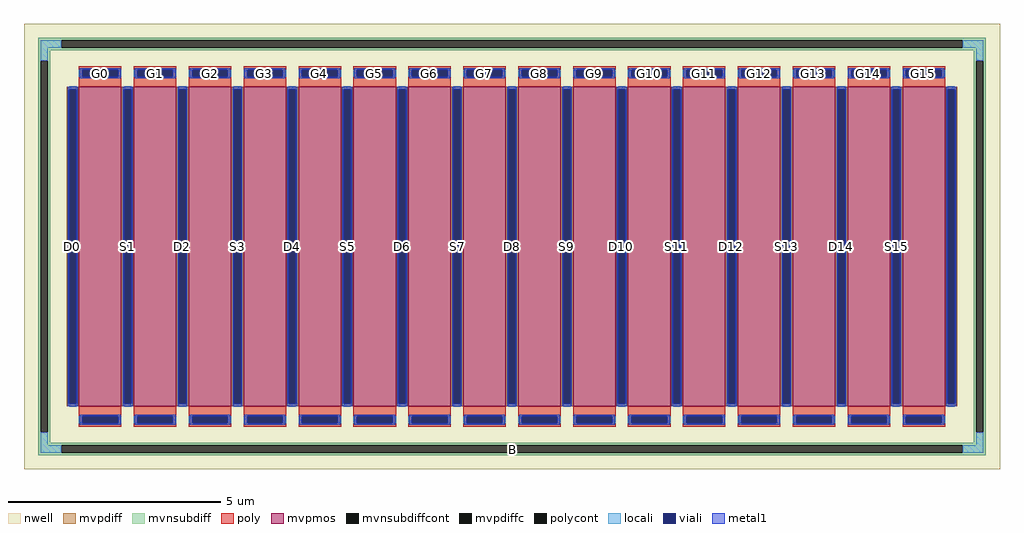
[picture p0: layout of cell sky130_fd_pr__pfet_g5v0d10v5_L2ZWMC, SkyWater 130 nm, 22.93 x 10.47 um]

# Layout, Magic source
magic
tech sky130A
magscale 1 2
<< nwell >>
rect -2293 -1047 2293 1047
<< mvpmos >>
rect -2035 -750 -1835 750
rect -1777 -750 -1577 750
rect -1519 -750 -1319 750
rect -1261 -750 -1061 750
rect -1003 -750 -803 750
rect -745 -750 -545 750
rect -487 -750 -287 750
rect -229 -750 -29 750
rect 29 -750 229 750
rect 287 -750 487 750
rect 545 -750 745 750
rect 803 -750 1003 750
rect 1061 -750 1261 750
rect 1319 -750 1519 750
rect 1577 -750 1777 750
rect 1835 -750 2035 750
<< mvpdiff >>
rect -2093 738 -2035 750
rect -2093 -738 -2081 738
rect -2047 -738 -2035 738
rect -2093 -750 -2035 -738
rect -1835 738 -1777 750
rect -1835 -738 -1823 738
rect -1789 -738 -1777 738
rect -1835 -750 -1777 -738
rect -1577 738 -1519 750
rect -1577 -738 -1565 738
rect -1531 -738 -1519 738
rect -1577 -750 -1519 -738
rect -1319 738 -1261 750
rect -1319 -738 -1307 738
rect -1273 -738 -1261 738
rect -1319 -750 -1261 -738
rect -1061 738 -1003 750
rect -1061 -738 -1049 738
rect -1015 -738 -1003 738
rect -1061 -750 -1003 -738
rect -803 738 -745 750
rect -803 -738 -791 738
rect -757 -738 -745 738
rect -803 -750 -745 -738
rect -545 738 -487 750
rect -545 -738 -533 738
rect -499 -738 -487 738
rect -545 -750 -487 -738
rect -287 738 -229 750
rect -287 -738 -275 738
rect -241 -738 -229 738
rect -287 -750 -229 -738
rect -29 738 29 750
rect -29 -738 -17 738
rect 17 -738 29 738
rect -29 -750 29 -738
rect 229 738 287 750
rect 229 -738 241 738
rect 275 -738 287 738
rect 229 -750 287 -738
rect 487 738 545 750
rect 487 -738 499 738
rect 533 -738 545 738
rect 487 -750 545 -738
rect 745 738 803 750
rect 745 -738 757 738
rect 791 -738 803 738
rect 745 -750 803 -738
rect 1003 738 1061 750
rect 1003 -738 1015 738
rect 1049 -738 1061 738
rect 1003 -750 1061 -738
rect 1261 738 1319 750
rect 1261 -738 1273 738
rect 1307 -738 1319 738
rect 1261 -750 1319 -738
rect 1519 738 1577 750
rect 1519 -738 1531 738
rect 1565 -738 1577 738
rect 1519 -750 1577 -738
rect 1777 738 1835 750
rect 1777 -738 1789 738
rect 1823 -738 1835 738
rect 1777 -750 1835 -738
rect 2035 738 2093 750
rect 2035 -738 2047 738
rect 2081 -738 2093 738
rect 2035 -750 2093 -738
<< mvpdiffc >>
rect -2081 -738 -2047 738
rect -1823 -738 -1789 738
rect -1565 -738 -1531 738
rect -1307 -738 -1273 738
rect -1049 -738 -1015 738
rect -791 -738 -757 738
rect -533 -738 -499 738
rect -275 -738 -241 738
rect -17 -738 17 738
rect 241 -738 275 738
rect 499 -738 533 738
rect 757 -738 791 738
rect 1015 -738 1049 738
rect 1273 -738 1307 738
rect 1531 -738 1565 738
rect 1789 -738 1823 738
rect 2047 -738 2081 738
<< mvnsubdiff >>
rect -2227 969 2227 981
rect -2227 935 -2119 969
rect 2119 935 2227 969
rect -2227 923 2227 935
rect -2227 873 -2169 923
rect -2227 -873 -2215 873
rect -2181 -873 -2169 873
rect 2169 873 2227 923
rect -2227 -923 -2169 -873
rect 2169 -873 2181 873
rect 2215 -873 2227 873
rect 2169 -923 2227 -873
rect -2227 -935 2227 -923
rect -2227 -969 -2119 -935
rect 2119 -969 2227 -935
rect -2227 -981 2227 -969
<< mvnsubdiffcont >>
rect -2119 935 2119 969
rect -2215 -873 -2181 873
rect 2181 -873 2215 873
rect -2119 -969 2119 -935
<< poly >>
rect -2035 831 -1835 847
rect -2035 797 -2019 831
rect -1851 797 -1835 831
rect -2035 750 -1835 797
rect -1777 831 -1577 847
rect -1777 797 -1761 831
rect -1593 797 -1577 831
rect -1777 750 -1577 797
rect -1519 831 -1319 847
rect -1519 797 -1503 831
rect -1335 797 -1319 831
rect -1519 750 -1319 797
rect -1261 831 -1061 847
rect -1261 797 -1245 831
rect -1077 797 -1061 831
rect -1261 750 -1061 797
rect -1003 831 -803 847
rect -1003 797 -987 831
rect -819 797 -803 831
rect -1003 750 -803 797
rect -745 831 -545 847
rect -745 797 -729 831
rect -561 797 -545 831
rect -745 750 -545 797
rect -487 831 -287 847
rect -487 797 -471 831
rect -303 797 -287 831
rect -487 750 -287 797
rect -229 831 -29 847
rect -229 797 -213 831
rect -45 797 -29 831
rect -229 750 -29 797
rect 29 831 229 847
rect 29 797 45 831
rect 213 797 229 831
rect 29 750 229 797
rect 287 831 487 847
rect 287 797 303 831
rect 471 797 487 831
rect 287 750 487 797
rect 545 831 745 847
rect 545 797 561 831
rect 729 797 745 831
rect 545 750 745 797
rect 803 831 1003 847
rect 803 797 819 831
rect 987 797 1003 831
rect 803 750 1003 797
rect 1061 831 1261 847
rect 1061 797 1077 831
rect 1245 797 1261 831
rect 1061 750 1261 797
rect 1319 831 1519 847
rect 1319 797 1335 831
rect 1503 797 1519 831
rect 1319 750 1519 797
rect 1577 831 1777 847
rect 1577 797 1593 831
rect 1761 797 1777 831
rect 1577 750 1777 797
rect 1835 831 2035 847
rect 1835 797 1851 831
rect 2019 797 2035 831
rect 1835 750 2035 797
rect -2035 -797 -1835 -750
rect -2035 -831 -2019 -797
rect -1851 -831 -1835 -797
rect -2035 -847 -1835 -831
rect -1777 -797 -1577 -750
rect -1777 -831 -1761 -797
rect -1593 -831 -1577 -797
rect -1777 -847 -1577 -831
rect -1519 -797 -1319 -750
rect -1519 -831 -1503 -797
rect -1335 -831 -1319 -797
rect -1519 -847 -1319 -831
rect -1261 -797 -1061 -750
rect -1261 -831 -1245 -797
rect -1077 -831 -1061 -797
rect -1261 -847 -1061 -831
rect -1003 -797 -803 -750
rect -1003 -831 -987 -797
rect -819 -831 -803 -797
rect -1003 -847 -803 -831
rect -745 -797 -545 -750
rect -745 -831 -729 -797
rect -561 -831 -545 -797
rect -745 -847 -545 -831
rect -487 -797 -287 -750
rect -487 -831 -471 -797
rect -303 -831 -287 -797
rect -487 -847 -287 -831
rect -229 -797 -29 -750
rect -229 -831 -213 -797
rect -45 -831 -29 -797
rect -229 -847 -29 -831
rect 29 -797 229 -750
rect 29 -831 45 -797
rect 213 -831 229 -797
rect 29 -847 229 -831
rect 287 -797 487 -750
rect 287 -831 303 -797
rect 471 -831 487 -797
rect 287 -847 487 -831
rect 545 -797 745 -750
rect 545 -831 561 -797
rect 729 -831 745 -797
rect 545 -847 745 -831
rect 803 -797 1003 -750
rect 803 -831 819 -797
rect 987 -831 1003 -797
rect 803 -847 1003 -831
rect 1061 -797 1261 -750
rect 1061 -831 1077 -797
rect 1245 -831 1261 -797
rect 1061 -847 1261 -831
rect 1319 -797 1519 -750
rect 1319 -831 1335 -797
rect 1503 -831 1519 -797
rect 1319 -847 1519 -831
rect 1577 -797 1777 -750
rect 1577 -831 1593 -797
rect 1761 -831 1777 -797
rect 1577 -847 1777 -831
rect 1835 -797 2035 -750
rect 1835 -831 1851 -797
rect 2019 -831 2035 -797
rect 1835 -847 2035 -831
<< polycont >>
rect -2019 797 -1851 831
rect -1761 797 -1593 831
rect -1503 797 -1335 831
rect -1245 797 -1077 831
rect -987 797 -819 831
rect -729 797 -561 831
rect -471 797 -303 831
rect -213 797 -45 831
rect 45 797 213 831
rect 303 797 471 831
rect 561 797 729 831
rect 819 797 987 831
rect 1077 797 1245 831
rect 1335 797 1503 831
rect 1593 797 1761 831
rect 1851 797 2019 831
rect -2019 -831 -1851 -797
rect -1761 -831 -1593 -797
rect -1503 -831 -1335 -797
rect -1245 -831 -1077 -797
rect -987 -831 -819 -797
rect -729 -831 -561 -797
rect -471 -831 -303 -797
rect -213 -831 -45 -797
rect 45 -831 213 -797
rect 303 -831 471 -797
rect 561 -831 729 -797
rect 819 -831 987 -797
rect 1077 -831 1245 -797
rect 1335 -831 1503 -797
rect 1593 -831 1761 -797
rect 1851 -831 2019 -797
<< locali >>
rect -2215 935 -2119 969
rect 2119 935 2215 969
rect -2215 873 -2181 935
rect 2181 873 2215 935
rect -2035 797 -2019 831
rect -1851 797 -1835 831
rect -1777 797 -1761 831
rect -1593 797 -1577 831
rect -1519 797 -1503 831
rect -1335 797 -1319 831
rect -1261 797 -1245 831
rect -1077 797 -1061 831
rect -1003 797 -987 831
rect -819 797 -803 831
rect -745 797 -729 831
rect -561 797 -545 831
rect -487 797 -471 831
rect -303 797 -287 831
rect -229 797 -213 831
rect -45 797 -29 831
rect 29 797 45 831
rect 213 797 229 831
rect 287 797 303 831
rect 471 797 487 831
rect 545 797 561 831
rect 729 797 745 831
rect 803 797 819 831
rect 987 797 1003 831
rect 1061 797 1077 831
rect 1245 797 1261 831
rect 1319 797 1335 831
rect 1503 797 1519 831
rect 1577 797 1593 831
rect 1761 797 1777 831
rect 1835 797 1851 831
rect 2019 797 2035 831
rect -2081 738 -2047 754
rect -2081 -754 -2047 -738
rect -1823 738 -1789 754
rect -1823 -754 -1789 -738
rect -1565 738 -1531 754
rect -1565 -754 -1531 -738
rect -1307 738 -1273 754
rect -1307 -754 -1273 -738
rect -1049 738 -1015 754
rect -1049 -754 -1015 -738
rect -791 738 -757 754
rect -791 -754 -757 -738
rect -533 738 -499 754
rect -533 -754 -499 -738
rect -275 738 -241 754
rect -275 -754 -241 -738
rect -17 738 17 754
rect -17 -754 17 -738
rect 241 738 275 754
rect 241 -754 275 -738
rect 499 738 533 754
rect 499 -754 533 -738
rect 757 738 791 754
rect 757 -754 791 -738
rect 1015 738 1049 754
rect 1015 -754 1049 -738
rect 1273 738 1307 754
rect 1273 -754 1307 -738
rect 1531 738 1565 754
rect 1531 -754 1565 -738
rect 1789 738 1823 754
rect 1789 -754 1823 -738
rect 2047 738 2081 754
rect 2047 -754 2081 -738
rect -2035 -831 -2019 -797
rect -1851 -831 -1835 -797
rect -1777 -831 -1761 -797
rect -1593 -831 -1577 -797
rect -1519 -831 -1503 -797
rect -1335 -831 -1319 -797
rect -1261 -831 -1245 -797
rect -1077 -831 -1061 -797
rect -1003 -831 -987 -797
rect -819 -831 -803 -797
rect -745 -831 -729 -797
rect -561 -831 -545 -797
rect -487 -831 -471 -797
rect -303 -831 -287 -797
rect -229 -831 -213 -797
rect -45 -831 -29 -797
rect 29 -831 45 -797
rect 213 -831 229 -797
rect 287 -831 303 -797
rect 471 -831 487 -797
rect 545 -831 561 -797
rect 729 -831 745 -797
rect 803 -831 819 -797
rect 987 -831 1003 -797
rect 1061 -831 1077 -797
rect 1245 -831 1261 -797
rect 1319 -831 1335 -797
rect 1503 -831 1519 -797
rect 1577 -831 1593 -797
rect 1761 -831 1777 -797
rect 1835 -831 1851 -797
rect 2019 -831 2035 -797
rect -2215 -935 -2181 -873
rect 2181 -935 2215 -873
rect -2215 -969 -2119 -935
rect 2119 -969 2215 -935
<< viali >>
rect -2019 797 -1851 831
rect -1761 797 -1593 831
rect -1503 797 -1335 831
rect -1245 797 -1077 831
rect -987 797 -819 831
rect -729 797 -561 831
rect -471 797 -303 831
rect -213 797 -45 831
rect 45 797 213 831
rect 303 797 471 831
rect 561 797 729 831
rect 819 797 987 831
rect 1077 797 1245 831
rect 1335 797 1503 831
rect 1593 797 1761 831
rect 1851 797 2019 831
rect -2081 -738 -2047 738
rect -1823 -738 -1789 738
rect -1565 -738 -1531 738
rect -1307 -738 -1273 738
rect -1049 -738 -1015 738
rect -791 -738 -757 738
rect -533 -738 -499 738
rect -275 -738 -241 738
rect -17 -738 17 738
rect 241 -738 275 738
rect 499 -738 533 738
rect 757 -738 791 738
rect 1015 -738 1049 738
rect 1273 -738 1307 738
rect 1531 -738 1565 738
rect 1789 -738 1823 738
rect 2047 -738 2081 738
rect -2019 -831 -1851 -797
rect -1761 -831 -1593 -797
rect -1503 -831 -1335 -797
rect -1245 -831 -1077 -797
rect -987 -831 -819 -797
rect -729 -831 -561 -797
rect -471 -831 -303 -797
rect -213 -831 -45 -797
rect 45 -831 213 -797
rect 303 -831 471 -797
rect 561 -831 729 -797
rect 819 -831 987 -797
rect 1077 -831 1245 -797
rect 1335 -831 1503 -797
rect 1593 -831 1761 -797
rect 1851 -831 2019 -797
<< metal1 >>
rect -2031 831 -1839 837
rect -2031 797 -2019 831
rect -1851 797 -1839 831
rect -2031 791 -1839 797
rect -1773 831 -1581 837
rect -1773 797 -1761 831
rect -1593 797 -1581 831
rect -1773 791 -1581 797
rect -1515 831 -1323 837
rect -1515 797 -1503 831
rect -1335 797 -1323 831
rect -1515 791 -1323 797
rect -1257 831 -1065 837
rect -1257 797 -1245 831
rect -1077 797 -1065 831
rect -1257 791 -1065 797
rect -999 831 -807 837
rect -999 797 -987 831
rect -819 797 -807 831
rect -999 791 -807 797
rect -741 831 -549 837
rect -741 797 -729 831
rect -561 797 -549 831
rect -741 791 -549 797
rect -483 831 -291 837
rect -483 797 -471 831
rect -303 797 -291 831
rect -483 791 -291 797
rect -225 831 -33 837
rect -225 797 -213 831
rect -45 797 -33 831
rect -225 791 -33 797
rect 33 831 225 837
rect 33 797 45 831
rect 213 797 225 831
rect 33 791 225 797
rect 291 831 483 837
rect 291 797 303 831
rect 471 797 483 831
rect 291 791 483 797
rect 549 831 741 837
rect 549 797 561 831
rect 729 797 741 831
rect 549 791 741 797
rect 807 831 999 837
rect 807 797 819 831
rect 987 797 999 831
rect 807 791 999 797
rect 1065 831 1257 837
rect 1065 797 1077 831
rect 1245 797 1257 831
rect 1065 791 1257 797
rect 1323 831 1515 837
rect 1323 797 1335 831
rect 1503 797 1515 831
rect 1323 791 1515 797
rect 1581 831 1773 837
rect 1581 797 1593 831
rect 1761 797 1773 831
rect 1581 791 1773 797
rect 1839 831 2031 837
rect 1839 797 1851 831
rect 2019 797 2031 831
rect 1839 791 2031 797
rect -2087 738 -2041 750
rect -2087 -738 -2081 738
rect -2047 -738 -2041 738
rect -2087 -750 -2041 -738
rect -1829 738 -1783 750
rect -1829 -738 -1823 738
rect -1789 -738 -1783 738
rect -1829 -750 -1783 -738
rect -1571 738 -1525 750
rect -1571 -738 -1565 738
rect -1531 -738 -1525 738
rect -1571 -750 -1525 -738
rect -1313 738 -1267 750
rect -1313 -738 -1307 738
rect -1273 -738 -1267 738
rect -1313 -750 -1267 -738
rect -1055 738 -1009 750
rect -1055 -738 -1049 738
rect -1015 -738 -1009 738
rect -1055 -750 -1009 -738
rect -797 738 -751 750
rect -797 -738 -791 738
rect -757 -738 -751 738
rect -797 -750 -751 -738
rect -539 738 -493 750
rect -539 -738 -533 738
rect -499 -738 -493 738
rect -539 -750 -493 -738
rect -281 738 -235 750
rect -281 -738 -275 738
rect -241 -738 -235 738
rect -281 -750 -235 -738
rect -23 738 23 750
rect -23 -738 -17 738
rect 17 -738 23 738
rect -23 -750 23 -738
rect 235 738 281 750
rect 235 -738 241 738
rect 275 -738 281 738
rect 235 -750 281 -738
rect 493 738 539 750
rect 493 -738 499 738
rect 533 -738 539 738
rect 493 -750 539 -738
rect 751 738 797 750
rect 751 -738 757 738
rect 791 -738 797 738
rect 751 -750 797 -738
rect 1009 738 1055 750
rect 1009 -738 1015 738
rect 1049 -738 1055 738
rect 1009 -750 1055 -738
rect 1267 738 1313 750
rect 1267 -738 1273 738
rect 1307 -738 1313 738
rect 1267 -750 1313 -738
rect 1525 738 1571 750
rect 1525 -738 1531 738
rect 1565 -738 1571 738
rect 1525 -750 1571 -738
rect 1783 738 1829 750
rect 1783 -738 1789 738
rect 1823 -738 1829 738
rect 1783 -750 1829 -738
rect 2041 738 2087 750
rect 2041 -738 2047 738
rect 2081 -738 2087 738
rect 2041 -750 2087 -738
rect -2031 -797 -1839 -791
rect -2031 -831 -2019 -797
rect -1851 -831 -1839 -797
rect -2031 -837 -1839 -831
rect -1773 -797 -1581 -791
rect -1773 -831 -1761 -797
rect -1593 -831 -1581 -797
rect -1773 -837 -1581 -831
rect -1515 -797 -1323 -791
rect -1515 -831 -1503 -797
rect -1335 -831 -1323 -797
rect -1515 -837 -1323 -831
rect -1257 -797 -1065 -791
rect -1257 -831 -1245 -797
rect -1077 -831 -1065 -797
rect -1257 -837 -1065 -831
rect -999 -797 -807 -791
rect -999 -831 -987 -797
rect -819 -831 -807 -797
rect -999 -837 -807 -831
rect -741 -797 -549 -791
rect -741 -831 -729 -797
rect -561 -831 -549 -797
rect -741 -837 -549 -831
rect -483 -797 -291 -791
rect -483 -831 -471 -797
rect -303 -831 -291 -797
rect -483 -837 -291 -831
rect -225 -797 -33 -791
rect -225 -831 -213 -797
rect -45 -831 -33 -797
rect -225 -837 -33 -831
rect 33 -797 225 -791
rect 33 -831 45 -797
rect 213 -831 225 -797
rect 33 -837 225 -831
rect 291 -797 483 -791
rect 291 -831 303 -797
rect 471 -831 483 -797
rect 291 -837 483 -831
rect 549 -797 741 -791
rect 549 -831 561 -797
rect 729 -831 741 -797
rect 549 -837 741 -831
rect 807 -797 999 -791
rect 807 -831 819 -797
rect 987 -831 999 -797
rect 807 -837 999 -831
rect 1065 -797 1257 -791
rect 1065 -831 1077 -797
rect 1245 -831 1257 -797
rect 1065 -837 1257 -831
rect 1323 -797 1515 -791
rect 1323 -831 1335 -797
rect 1503 -831 1515 -797
rect 1323 -837 1515 -831
rect 1581 -797 1773 -791
rect 1581 -831 1593 -797
rect 1761 -831 1773 -797
rect 1581 -837 1773 -831
rect 1839 -797 2031 -791
rect 1839 -831 1851 -797
rect 2019 -831 2031 -797
rect 1839 -837 2031 -831
<< labels >>
rlabel mvnsubdiffcont 0 -952 0 -952 0 B
port 1 nsew
rlabel mvpdiffc -2064 0 -2064 0 0 D0
port 2 nsew
rlabel polycont -1935 814 -1935 814 0 G0
port 3 nsew
rlabel mvpdiffc -1806 0 -1806 0 0 S1
port 4 nsew
rlabel polycont -1677 814 -1677 814 0 G1
port 5 nsew
rlabel mvpdiffc -1548 0 -1548 0 0 D2
port 6 nsew
rlabel polycont -1419 814 -1419 814 0 G2
port 7 nsew
rlabel mvpdiffc -1290 0 -1290 0 0 S3
port 8 nsew
rlabel polycont -1161 814 -1161 814 0 G3
port 9 nsew
rlabel mvpdiffc -1032 0 -1032 0 0 D4
port 10 nsew
rlabel polycont -903 814 -903 814 0 G4
port 11 nsew
rlabel mvpdiffc -774 0 -774 0 0 S5
port 12 nsew
rlabel polycont -645 814 -645 814 0 G5
port 13 nsew
rlabel mvpdiffc -516 0 -516 0 0 D6
port 14 nsew
rlabel polycont -387 814 -387 814 0 G6
port 15 nsew
rlabel mvpdiffc -258 0 -258 0 0 S7
port 16 nsew
rlabel polycont -129 814 -129 814 0 G7
port 17 nsew
rlabel mvpdiffc 0 0 0 0 0 D8
port 18 nsew
rlabel polycont 129 814 129 814 0 G8
port 19 nsew
rlabel mvpdiffc 258 0 258 0 0 S9
port 20 nsew
rlabel polycont 387 814 387 814 0 G9
port 21 nsew
rlabel mvpdiffc 516 0 516 0 0 D10
port 22 nsew
rlabel polycont 645 814 645 814 0 G10
port 23 nsew
rlabel mvpdiffc 774 0 774 0 0 S11
port 24 nsew
rlabel polycont 903 814 903 814 0 G11
port 25 nsew
rlabel mvpdiffc 1032 0 1032 0 0 D12
port 26 nsew
rlabel polycont 1161 814 1161 814 0 G12
port 27 nsew
rlabel mvpdiffc 1290 0 1290 0 0 S13
port 28 nsew
rlabel polycont 1419 814 1419 814 0 G13
port 29 nsew
rlabel mvpdiffc 1548 0 1548 0 0 D14
port 30 nsew
rlabel polycont 1677 814 1677 814 0 G14
port 31 nsew
rlabel mvpdiffc 1806 0 1806 0 0 S15
port 32 nsew
rlabel polycont 1935 814 1935 814 0 G15
port 33 nsew
<< properties >>
string FIXED_BBOX -2198 -952 2198 952
string gencell sky130_fd_pr__pfet_g5v0d10v5
string library sky130
string parameters w 7.5 l 1 m 1 nf 16 diffcov 100 polycov 100 guard 1 glc 1 grc 1 gtc 1 gbc 1 tbcov 100 rlcov 100 topc 1 botc 1 poverlap 0 doverlap 1 lmin 0.50 wmin 0.42 class mosfet compatible {sky130_fd_pr__pfet_01v8  sky130_fd_pr__pfet_01v8_lvt sky130_fd_pr__pfet_01v8_hvt  sky130_fd_pr__pfet_g5v0d10v5} full_metal 1 conn_gates 0 viasrc 100 viadrn 100 viagate 100 viagb 0 viagr 0 viagl 0 viagt 0 doports 1
<< end >>
